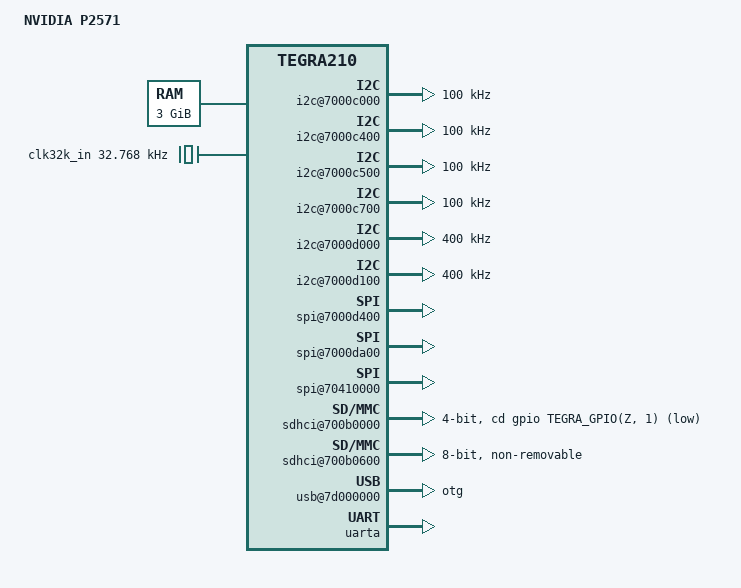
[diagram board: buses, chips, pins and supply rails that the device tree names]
/dts-v1/;

#include "tegra210.dtsi"

/ {
	model = "NVIDIA P2571";
	compatible = "nvidia,p2571", "nvidia,tegra210";

	chosen {
		stdout-path = &uarta;
	};

	aliases {
		i2c0 = "/i2c@7000d000";
		i2c1 = "/i2c@7000c000";
		i2c2 = "/i2c@7000c400";
		i2c3 = "/i2c@7000c500";
		i2c4 = "/i2c@7000c700";
		i2c5 = "/i2c@7000d100";
		mmc0 = "/sdhci@700b0600";
		mmc1 = "/sdhci@700b0000";
		spi0 = "/spi@7000d400";
		spi1 = "/spi@7000da00";
		spi2 = "/spi@70410000";
		usb0 = "/usb@7d000000";
	};

	memory {
		reg = <0x0 0x80000000 0x0 0xc0000000>;
	};

	i2c@7000c000 {
		status = "okay";
		clock-frequency = <100000>;
	};

	i2c@7000c400 {
		status = "okay";
		clock-frequency = <100000>;
	};

	i2c@7000c500 {
		status = "okay";
		clock-frequency = <100000>;
	};

	i2c@7000c700 {
		status = "okay";
		clock-frequency = <100000>;
	};

	i2c@7000d000 {
		status = "okay";
		clock-frequency = <400000>;
	};

	i2c@7000d100 {
		status = "okay";
		clock-frequency = <400000>;
	};

	spi@7000d400 {
		status = "okay";
		spi-max-frequency = <25000000>;
	};

	spi@7000da00 {
		status = "okay";
		spi-max-frequency = <25000000>;
	};

	spi@70410000 {
		status = "okay";
		spi-max-frequency = <24000000>;
	};

	sdhci@700b0000 {
		status = "okay";
		cd-gpios = <&gpio TEGRA_GPIO(Z, 1) GPIO_ACTIVE_LOW>;
		power-gpios = <&gpio TEGRA_GPIO(Z, 4) GPIO_ACTIVE_HIGH>;
		bus-width = <4>;
	};

	sdhci@700b0600 {
		status = "okay";
		bus-width = <8>;
		non-removable;
	};

	usb@7d000000 {
		status = "okay";
		dr_mode = "otg";
	};

	clocks {
		compatible = "simple-bus";
		#address-cells = <1>;
		#size-cells = <0>;

		clk32k_in: clock@0 {
			compatible = "fixed-clock";
			reg = <0>;
			#clock-cells = <0>;
			clock-frequency = <32768>;
		};
	};
};

&uarta {
	status = "okay";
};
